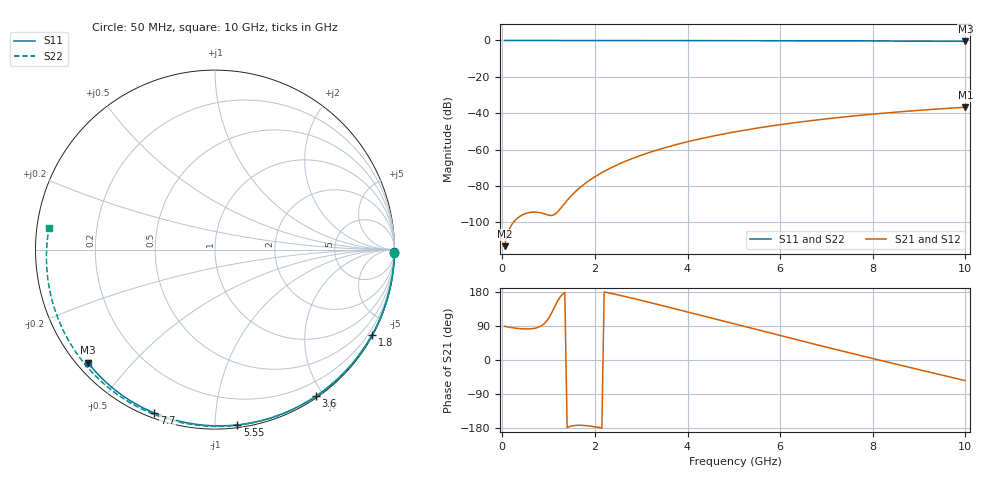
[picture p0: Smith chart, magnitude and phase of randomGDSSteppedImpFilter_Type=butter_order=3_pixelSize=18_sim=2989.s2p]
! freq	dB(S11)	phase(S11)	dB(S12)	phase(S12)
!  dB(S21)	phase(S21)	dB(S22)	phase(S22)
!S-par simulation data
#  GHz  S  DB  R 50
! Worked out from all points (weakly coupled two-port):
!   200 points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, 50 MHz to 10 GHz, reference 50 ohm
!   highest |S21| = -36.76 dB at 10 GHz (marker M1); lowest = -113.2 dB at 50 MHz (marker M2)
!   lowest |S11| = -0.5 dB at 10 GHz (marker M3), VSWR 37.00, Z = 1.55 - j19 ohm
!   |S11| at or under -10 dB: nowhere
!   |S22| runs from -0.6 to 0.0 dB; largest |S21 - S12| = 0
!   S11 on the Smith chart (normalised r, x): 50 MHz: open; 1.8 GHz: 0.03, -3.95; 3.6 GHz: 0.02, -1.90; 5.55 GHz: 0.02, -1.14; 7.7 GHz: 0.02, -0.70; 10 GHz: 0.03, -0.38
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0.05  -0.00 -0.8  -113.17 88.7  -113.17 88.7  -0.00 -1.0
0.45  -0.01 -7.2  -95.77 82.2  -95.77 82.2  -0.01 -9.4
0.85  -0.02 -13.5  -94.95 90.8  -94.95 90.8  -0.02 -17.7
1.25  -0.02 -19.8  -92.70 166.3  -92.70 166.3  -0.03 -25.9
1.7  -0.03 -26.8  -80.45 -172.3  -80.45 -172.3  -0.04 -35.0
1.75  -0.04 -27.6  -79.43 -172.5  -79.43 -172.5  -0.05 -36.0
1.8  -0.04 -28.4  -78.45 -173.0  -78.45 -173.0  -0.05 -37.0
2.1  -0.04 -33.0  -73.43 -178.2  -73.43 -178.2  -0.05 -43.0
2.5  -0.05 -39.1  -68.22 171.8  -68.22 171.8  -0.06 -50.8
2.9  -0.06 -45.1  -64.06 160.4  -64.06 160.4  -0.08 -58.6
3.4  -0.07 -52.5  -59.83 145.3  -59.83 145.3  -0.09 -68.1
3.6  -0.07 -55.4  -58.36 139.1  -58.36 139.1  -0.10 -71.9
4.3  -0.09 -65.5  -53.95 117.3  -53.95 117.3  -0.12 -84.8
5.05  -0.12 -75.9  -50.16 93.9  -50.16 93.9  -0.15 -98.3
5.55  -0.14 -82.7  -48.03 78.3  -48.03 78.3  -0.18 -107.1
6.1  -0.16 -90.0  -45.97 61.3  -45.97 61.3  -0.21 -116.7
6.7  -0.19 -97.8  -44.01 43.0  -44.01 43.0  -0.25 -127.1
7.7  -0.25 -110.4  -41.26 12.8  -41.26 12.8  -0.33 -144.4
8.35  -0.30 -118.4  -39.75 -6.5  -39.75 -6.5  -0.40 -156.0
9.2  -0.38 -128.7  -38.07 -31.3  -38.07 -31.3  -0.50 -171.6
9.6  -0.42 -133.5  -37.38 -42.9  -37.38 -42.9  -0.55 -179.3
10  -0.47 -138.4  -36.76 -54.5  -36.76 -54.5  -0.60 172.7
